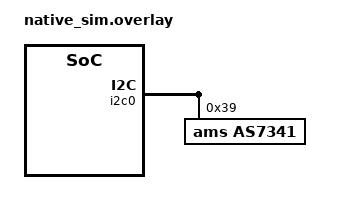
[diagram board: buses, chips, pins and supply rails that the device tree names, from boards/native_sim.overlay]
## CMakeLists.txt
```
cmake_minimum_required(VERSION 3.20.0)
find_package(Zephyr REQUIRED HINTS $ENV{ZEPHYR_BASE})
project(device)

FILE(GLOB app_sources src/*.c)
target_sources(app PRIVATE ${app_sources})

# Include the AS7341 driver path and unit-test path for private header inclusion
zephyr_include_directories(./src)
zephyr_include_directories(${ZEPHYR_DRIVERS_REPO_ROOT}/drivers/sensor/as7341)
```

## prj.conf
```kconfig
CONFIG_ZTEST=y

CONFIG_SENSOR=y
CONFIG_SENSOR_LOG_LEVEL_DBG=y

CONFIG_EMUL=y

CONFIG_I2C_EMUL=y
CONFIG_I2C_LOG_LEVEL_DBG=y

CONFIG_AS7341=y

CONFIG_CBPRINTF_FP_SUPPORT=y
```

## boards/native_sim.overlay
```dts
&i2c0 {
	status = "okay";

	as7341: as7341@39 {
		compatible = "ams,as7341";
		reg = <0x39>;
		status = "okay";
	};
};
```

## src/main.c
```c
#include <zephyr/device.h>
#include <zephyr/devicetree.h>
#include <zephyr/drivers/emul.h>
#include <zephyr/drivers/i2c_emul.h>
#include <zephyr/drivers/sensor.h>
#include <zephyr/fff.h>
#include <zephyr/ztest.h>

#define NODE DT_NODELABEL(as7341)

DEFINE_FFF_GLOBALS;

struct as7341_fixture {
	const struct device *dev;
	const struct emul *mock;
};

static void *as7341_setup(void)
{
	static struct as7341_fixture fixture = {
		.dev = DEVICE_DT_GET(DT_NODELABEL(as7341)),
		.mock = EMUL_DT_GET(DT_NODELABEL(as7341)),
	};

	zassert_not_null(fixture.dev);
	zassert_not_null(fixture.mock);
	return &fixture;
}

ZTEST_SUITE(as7341, NULL, as7341_setup, NULL, NULL, NULL);
```

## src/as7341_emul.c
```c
/*
 * Emulator for the AMS AS7341 I2C spectral sensor
 */
#define DT_DRV_COMPAT ams_as7341

#include <zephyr/device.h>
#include <zephyr/drivers/emul.h>
#include <zephyr/drivers/emul_sensor.h>
#include <zephyr/drivers/i2c.h>
#include <zephyr/drivers/i2c_emul.h>
#include <zephyr/logging/log.h>
#include <zephyr/sys/util.h>

#include <as7341.h>
#include <as7341_emul.h>

LOG_MODULE_REGISTER(AS7341_EMUL, CONFIG_SENSOR_LOG_LEVEL);

#define NUM_REGS AS7341_REG_FDATA

/* Emulator configuration passed into driver instance */
struct as7341_emul_cfg {
	uint16_t addr;
};

struct as7341_emul_data {
	uint8_t reg[NUM_REGS];
};

void as7341_emul_set_reg(const struct emul *target, uint8_t reg_addr, const uint8_t *val,
			 size_t count)
{
	struct as7341_emul_data *data = target->data;

	__ASSERT_NO_MSG(reg_addr + count < NUM_REGS);
	memcpy(data->reg + reg_addr, val, count);
}

void as7341_emul_get_reg(const struct emul *target, uint8_t reg_addr, uint8_t *val, size_t count)
{
	struct as7341_emul_data *data = target->data;

	__ASSERT_NO_MSG(reg_addr + count < NUM_REGS);
	memcpy(val, data->reg + reg_addr, count);
}

void as7341_emul_reset(const struct emul *target)
{
	struct as7341_emul_data *data = target->data;

	memset(data->reg, 0, NUM_REGS);
	data->reg[AS7341_REG_ID] = 0x24;
}

static int as7341_emul_transfer_i2c(const struct emul *target, struct i2c_msg *msgs, int num_msgs,
				    int addr)
{
	struct as7341_emul_data *data = (struct as7341_emul_data *)target->data;

	i2c_dump_msgs_rw(target->dev, msgs, num_msgs, addr, false);

	if (num_msgs < 1) {
		LOG_ERR("Invalid number of messages: %d", num_msgs);
		return -EIO;
	}
	if (FIELD_GET(I2C_MSG_READ, msgs->flags)) {
		LOG_ERR("Unexpected read");
		return -EIO;
	}
	if (msgs->len < 1) {
		LOG_ERR("Unexpected msg0 length %d", msgs->len);
		return -EIO;
	}

	uint8_t regn = msgs->buf[0];
	bool is_read = FIELD_GET(I2C_MSG_READ, msgs->flags) == 1;
	bool is_stop = FIELD_GET(I2C_MSG_STOP, msgs->flags) == 1;

	if (!is_stop && !is_read) {
		/* First message was a write with the register number, check next message */
		msgs++;
		is_read = FIELD_GET(I2C_MSG_READ, msgs->flags) == 1;
		is_stop = FIELD_GET(I2C_MSG_STOP, msgs->flags) == 1;
	}
	if (is_read) {
		/* Read data */
		for (int i = 0; i < msgs->len; ++i) {
			msgs->buf[i] = data->reg[regn + i];
		}
	} else {
		/* Write data */
		data->reg[regn] = msgs->buf[1];
	}

	return 0;
}

static int as7341_emul_init(const struct emul *target, const struct device *parent)
{
	ARG_UNUSED(parent);
	as7341_emul_reset(target);

	return 0;
}

static const struct i2c_emul_api as7341_emul_api_i2c = {
	.transfer = as7341_emul_transfer_i2c,
};

#define AS7341_EMUL(n)                                                                             \
	static const struct as7341_emul_cfg as7341_emul_cfg_##n = {.addr = DT_INST_REG_ADDR(n)};   \
	static struct as7341_emul_data as7341_emul_data_##n;                                       \
	EMUL_DT_INST_DEFINE(n, as7341_emul_init, &as7341_emul_data_##n, &as7341_emul_cfg_##n,      \
			    &as7341_emul_api_i2c, NULL)

DT_INST_FOREACH_STATUS_OKAY(AS7341_EMUL)
```

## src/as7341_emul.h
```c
/*
 * Emulator for the AMS AS7341 I2C spectral sensor
 */
#ifndef AS7341_EMUL_H_
#define AS7341_EMUL_H_

#include <zephyr/drivers/emul.h>

/**
 * @brief Set one or more register values
 *
 * @param target The target emulator to modify
 * @param reg_addr The starting address of the register to modify
 * @param in One or more bytes to write to the registers
 * @param count The number of bytes to write
 */
void as7341_emul_set_reg(const struct emul *target, uint8_t reg_addr, const uint8_t *val,
			 size_t count);

/**
 * @brief Get the values of one or more register values
 *
 * @param target The target emulator to read
 * @param reg_addr The starting address of the register to read
 * @param out Buffer to write the register values into
 * @param count The number of bytes to read
 */
void as7341_emul_get_reg(const struct emul *target, uint8_t reg_addr, uint8_t *val, size_t count);

/**
 * @brief Reset the emulator
 *
 * @param target The target emulator to reset
 */
void as7341_emul_reset(const struct emul *target);

#endif /* AS7341_EMUL_H_ */
```

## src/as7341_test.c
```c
#include <zephyr/device.h>
#include <zephyr/devicetree.h>
#include <zephyr/drivers/emul.h>
#include <zephyr/drivers/sensor.h>
#include <zephyr/ztest.h>

#include <as7341_emul.h>
#include <as7341.h>

struct as7341_fixture {
	const struct device *dev;
	const struct emul *target;
};

static void *as7341_setup(void)
{
	static struct as7341_fixture fixture = {
		.dev = DEVICE_DT_GET(DT_NODELABEL(as7341)),
		.target = EMUL_DT_GET(DT_NODELABEL(as7341)),
	};

	zassert_not_null(fixture.dev);
	zassert_not_null(fixture.target);
	return &fixture;
}

static void as7341_before(void *f)
{
	struct as7341_fixture *fixture = f;

	as7341_emul_reset(fixture->target);
}

/**
 * @brief Verify default configuration is correct.
 */
ZTEST(as7341, test_default_config)
{
	const struct as7341_data *data;
	const struct device *dev = DEVICE_DT_GET(DT_NODELABEL(as7341));

	zassert_not_null(dev);
	data = dev->data;

	/* confirm default settings */
	zexpect_equal(256, data->again);
	zexpect_equal(29, data->atime);
	zexpect_equal(599, data->astep);
	zexpect_equal(50, data->integration_ms);
}

ZTEST_SUITE(as7341, NULL, as7341_setup, as7341_before, NULL, NULL);
```
